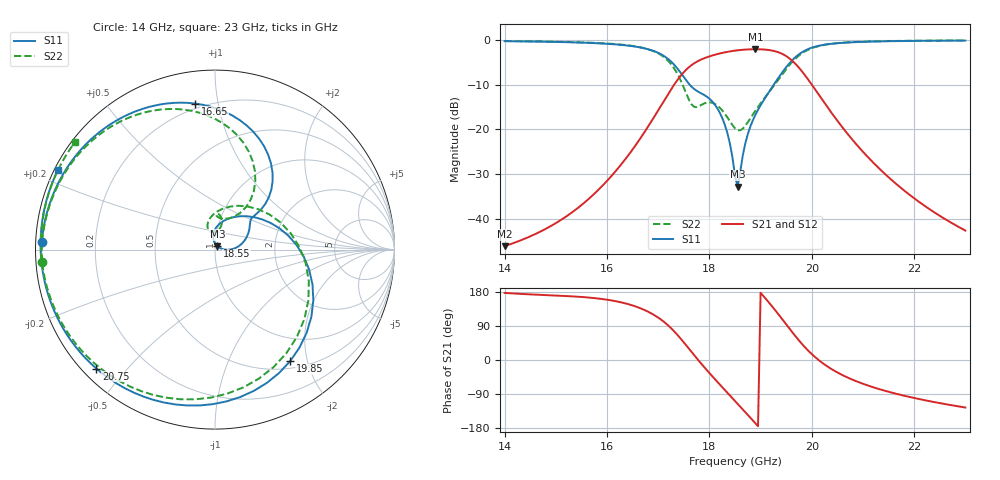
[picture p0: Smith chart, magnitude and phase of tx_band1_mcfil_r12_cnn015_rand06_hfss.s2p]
! Touchstone file exported from HFSS 3D Layout Design 2026.1.0
!  File:  D:/Work/SIM/ADS_AUTO_SIM/projects/RFSOC_RF/TX_Fillter.aedt
!  Generated:  11:58:01 PM Aug 30, 2026
!  Design:  TX_BAND1_MCFIL_R12_CNN015
!  Project:  TX_Fillter
# GHz S MA R 50.000000
! Terminal data exported
! Port[1] = Port1
! Port[2] = Port2
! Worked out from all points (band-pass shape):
!   181 points, 14 GHz to 23 GHz, reference 50 ohm
!   highest |S21| = -2.10 dB at 18.9 GHz (marker M1); lowest = -46.0 dB at 14 GHz (marker M2)
!   |S21| within 3 dB of the highest: 17.72 GHz to 19.66 GHz (1.934 GHz wide, 10.3 % of centre)
!   lowest |S11| = -32.8 dB at 18.55 GHz (marker M3), VSWR 1.05, Z = 51.3 + j1.91 ohm
!   |S11| at or under -10 dB: 17.61 GHz to 19.26 GHz (1.643 GHz wide, 8.91 % of centre)
!   |S22| runs from -20.2 to -0.1 dB; largest |S21 - S12| = 1.9e-14
!   S11 on the Smith chart (normalised r, x): 14 GHz: 0.02, +0.02; 16.65 GHz: 0.17, +0.86; 18.55 GHz: 1.03, +0.04; 19.85 GHz: 0.61, -1.72; 20.75 GHz: 0.04, -0.41; 23 GHz: 0.01, +0.24
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14  0.9659 177.4  0.004989 177.0  0.004989 177.0  0.9688 -176.0
15.5  0.9306 142.4  0.01432 166.4  0.01432 166.4  0.9364 150.7
16.65  0.8215 97.8  0.07934 136.7  0.07934 136.7  0.8257 108.4
17  0.7149 75.8  0.1637 111.9  0.1637 111.9  0.7061 86.6
17.25  0.5726 57.0  0.2793 84.1  0.2793 84.1  0.5361 67.0
17.5  0.3837 42.5  0.4354 46.6  0.4354 46.6  0.2934 53.9
17.7  0.2834 40.9  0.5458 13.2  0.5458 13.2  0.1789 73.3
17.9  0.2421 36.3  0.6231 -19.0  0.6231 -19.0  0.1952 88.2
18.3  0.1133 4.1  0.7242 -78.9  0.7242 -78.9  0.1501 75.3
18.5  0.0307 14.5  0.7573 -108.1  0.7573 -108.1  0.1031 84.3
18.55  0.02298 54.1  0.7637 -115.4  0.7637 -115.4  0.09815 90.3
18.7  0.06947 98.9  0.7778 -137.4  0.7778 -137.4  0.1096 106.5
18.9  0.1461 79.9  0.7851 -167.3  0.7851 -167.3  0.1625 103.2
19.15  0.2551 46.8  0.7707 153.8  0.7707 153.8  0.2535 70.9
19.4  0.4154 10.9  0.7059 111.7  0.7059 111.7  0.3951 22.5
19.65  0.6166 -27.3  0.5612 68.0  0.5612 68.0  0.5918 -28.4
19.85  0.7494 -56.0  0.4145 36.0  0.4145 36.0  0.7318 -63.6
20  0.8166 -74.7  0.316 15.5  0.316 15.5  0.8057 -85.2
20.35  0.8981 -108.4  0.1634 -21.0  0.1634 -21.0  0.898 -122.0
20.75  0.9361 -134.9  0.08222 -49.3  0.08222 -49.3  0.9403 -149.1
21.5  0.9645 -167.5  0.02927 -83.9  0.02927 -83.9  0.969 179.3
23  0.9811 153.2  0.007448 -125.4  0.007448 -125.4  0.9833 142.5
